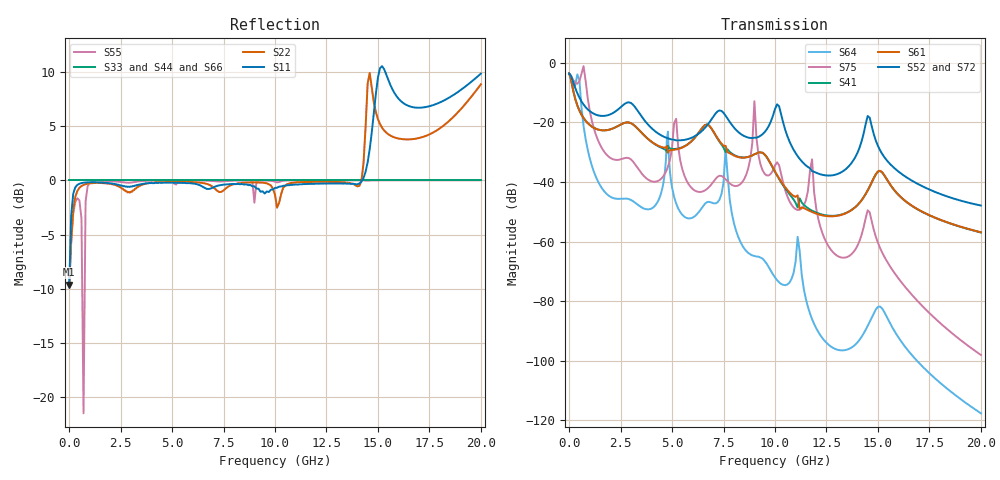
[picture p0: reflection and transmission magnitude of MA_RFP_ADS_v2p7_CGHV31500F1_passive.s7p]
! AWR Design Environment (8379) Tue Sep 28 14:42:36 2021
! Document = 'CGHV31500F1_passive'
! nPorts: 7, nXvals: 233
# HZ S DB R 50
!Freq DBS11 AngS11 DBS12 AngS12 DBS13 AngS13 DBS14 AngS14
!	DBS15 AngS15 DBS16 AngS16 DBS17 AngS17
!	DBS21 AngS21 DBS22 AngS22 DBS23 AngS23 DBS24 AngS24
!	DBS25 AngS25 DBS26 AngS26 DBS27 AngS27
!	DBS31 AngS31 DBS32 AngS32 DBS33 AngS33 DBS34 AngS34
!	DBS35 AngS35 DBS36 AngS36 DBS37 AngS37
!	DBS41 AngS41 DBS42 AngS42 DBS43 AngS43 DBS44 AngS44
!	DBS45 AngS45 DBS46 AngS46 DBS47 AngS47
!	DBS51 AngS51 DBS52 AngS52 DBS53 AngS53 DBS54 AngS54
!	DBS55 AngS55 DBS56 AngS56 DBS57 AngS57
!	DBS61 AngS61 DBS62 AngS62 DBS63 AngS63 DBS64 AngS64
!	DBS65 AngS65 DBS66 AngS66 DBS67 AngS67
!	DBS71 AngS71 DBS72 AngS72 DBS73 AngS73 DBS74 AngS74
!	DBS75 AngS75 DBS76 AngS76 DBS77 AngS77
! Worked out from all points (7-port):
!   232 points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, 1 kHz to 20 GHz, reference 50 ohm
!   strongest paths, dB at 1 kHz, 3.85 GHz, 8.5 GHz, 14.3 GHz, 20 GHz:
!     S52: -3.5, -20.8, -24.5, -23.9, -47.9
!     S72: -3.5, -20.8, -24.6, -23.9, -48.0
!     S61: -3.5, -25.6, -31.8, -45.2, -56.9
!     S41: -3.5, -25.7, -31.8, -45.2, -56.9
!     S75: -3.6, -39.3, -39.1, -55.3, -98.1
!     S64: -3.6, -49.2, -62.3, -90.9, -117.7
!   lowest |S11| = -9.6 dB at 10 kHz (marker M1), VSWR 1.99, Z = 25.1 - j0.00196 ohm
!   |S11| at or under -10 dB: nowhere
